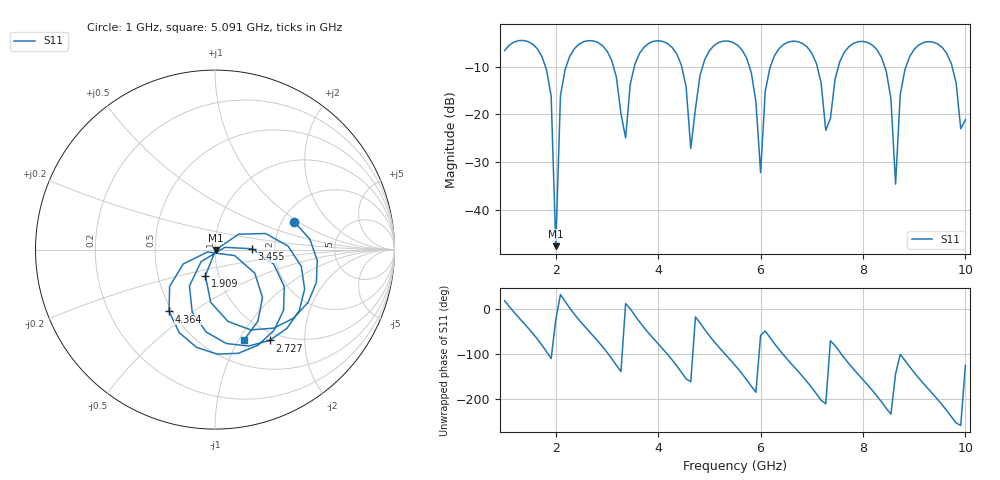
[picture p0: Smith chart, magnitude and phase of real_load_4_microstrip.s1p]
! Created Sun Oct  4 16:03:18 2026
# hz S ma R 50
! Port[1] Term1
! 1 Port Network Data from SP1.SP block
! freq  magS11  angS11
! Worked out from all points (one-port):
!   100 points, 1 GHz to 10 GHz, reference 50 ohm
!   lowest |S11| = -47.7 dB at 2 GHz (marker M1), VSWR 1.01, Z = 50.4 - j0.162 ohm
!   |S11| at or under -10 dB: 1.798 GHz to 2.201 GHz (402.8 MHz wide, 20.1 % of centre); 5.781 GHz to 6.19 GHz (408.9 MHz wide, 6.83 % of centre); 8.424 GHz to 8.84 GHz (415.7 MHz wide, 4.82 % of centre) (the widest 3 of 7)
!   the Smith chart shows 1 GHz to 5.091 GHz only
!   S11 on the Smith chart (normalised r, x): 1 GHz: 2.32, +0.92; 1.909 GHz: 0.86, -0.26; 2.727 GHz: 0.88, -1.37; 3.455 GHz: 1.52, +0.01; 4.364 GHz: 0.48, -0.41; 5.091 GHz: 0.76, -1.05
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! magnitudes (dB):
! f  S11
! 1 GHz  -6.6
! 1.636 GHz  -6.2
! 1.909 GHz  -16.2
! 2 GHz  -47.7
! 2.091 GHz  -16.1
! 2.182 GHz  -10.6
! 2.727 GHz  -4.6
! 3.273 GHz  -19.9
! 3.364 GHz  -24.9
! 3.455 GHz  -13.7
! 4.364 GHz  -7.3
! 4.455 GHz  -9.7
! 4.636 GHz  -27.2
! 5.091 GHz  -5.5
! 5.545 GHz  -5.4
! 5.818 GHz  -11.2
! 6 GHz  -32.2
! 6.182 GHz  -10.2
! 6.636 GHz  -4.6
! 7.091 GHz  -9.4
! 7.273 GHz  -23.4
! 7.818 GHz  -5.1
! 8.455 GHz  -11.0
! 8.636 GHz  -34.6
! 8.727 GHz  -15.9
! 8.909 GHz  -7.9
! 9.545 GHz  -5.9
! 10 GHz  -21.1
